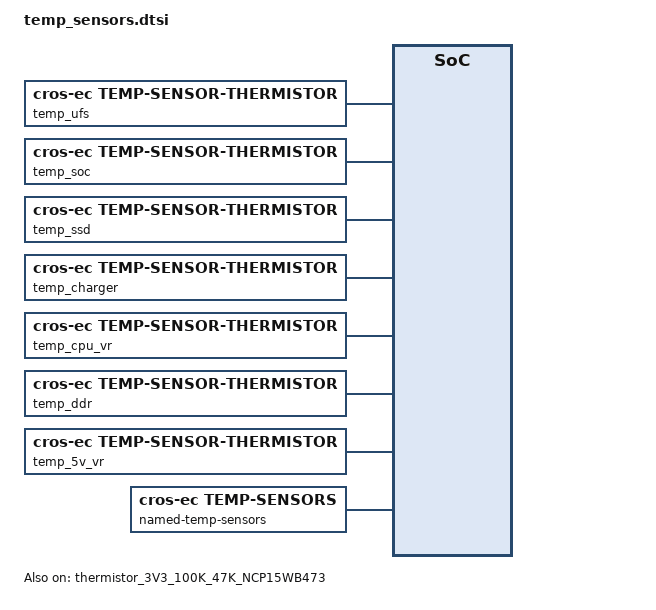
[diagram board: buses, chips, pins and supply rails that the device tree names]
/* Copyright 2026 The ChromiumOS Authors
 * Use of this source code is governed by a BSD-style license that can be
 * found in the LICENSE file.
 */

#include <cros/thermistor/thermistor.dtsi>

/ {
	temp_ufs: temp-ufs {
		compatible = "cros-ec,temp-sensor-thermistor";
		thermistor = <&thermistor_3V3_100K_47K_NCP15WB473>;
		adc = <&adc_ec_ufs_thrm_alert>;
	};

	temp_soc: temp-soc {
		compatible = "cros-ec,temp-sensor-thermistor";
		thermistor = <&thermistor_3V3_100K_47K_NCP15WB473>;
		adc = <&adc_ec_soc_thrm_alert>;
	};

	temp_ssd: temp-ssd {
		compatible = "cros-ec,temp-sensor-thermistor";
		thermistor = <&thermistor_3V3_100K_47K_NCP15WB473>;
		adc = <&adc_ec_ssd_thrm_alert>;
	};

	temp_charger: temp-charger {
		compatible = "cros-ec,temp-sensor-thermistor";
		thermistor = <&thermistor_3V3_100K_47K_NCP15WB473>;
		adc = <&adc_ec_chgr_thrm_alert>;
	};

	temp_cpu_vr: temp-cpu-vr {
		compatible = "cros-ec,temp-sensor-thermistor";
		thermistor = <&thermistor_3V3_100K_47K_NCP15WB473>;
		adc = <&adc_ec_cpu_vr_thrm_alert>;
	};

	temp_ddr: temp-ddr {
		compatible = "cros-ec,temp-sensor-thermistor";
		thermistor = <&thermistor_3V3_100K_47K_NCP15WB473>;
		adc = <&adc_ec_ddr_thrm_alert>;
	};

	temp_5v_vr: temp-5v-vr {
		compatible = "cros-ec,temp-sensor-thermistor";
		thermistor = <&thermistor_3V3_100K_47K_NCP15WB473>;
		adc = <&adc_ec_5v_thrm_alert>;
	};

	named-temp-sensors {
		compatible = "cros-ec,temp-sensors";

		temp_sensor_ufs: ufs {
			sensor = <&temp_ufs>;
		};

		temp_sensor_soc: soc {
			sensor = <&temp_soc>;
		};

		temp_sensor_ssd: ssd {
			sensor = <&temp_ssd>;
		};

		temp_sensor_charger: charger {
			sensor = <&temp_charger>;
		};

		temp_sensor_cpu_vr: cpu_vr {
			sensor = <&temp_cpu_vr>;
		};

		temp_sensor_ddr: ddr {
			sensor = <&temp_ddr>;
		};

		temp_sensor_5v_vr: 5v_vr {
			sensor = <&temp_5v_vr>;
		};
	};
};

&thermistor_3V3_100K_47K_NCP15WB473 {
	status = "okay";
};
